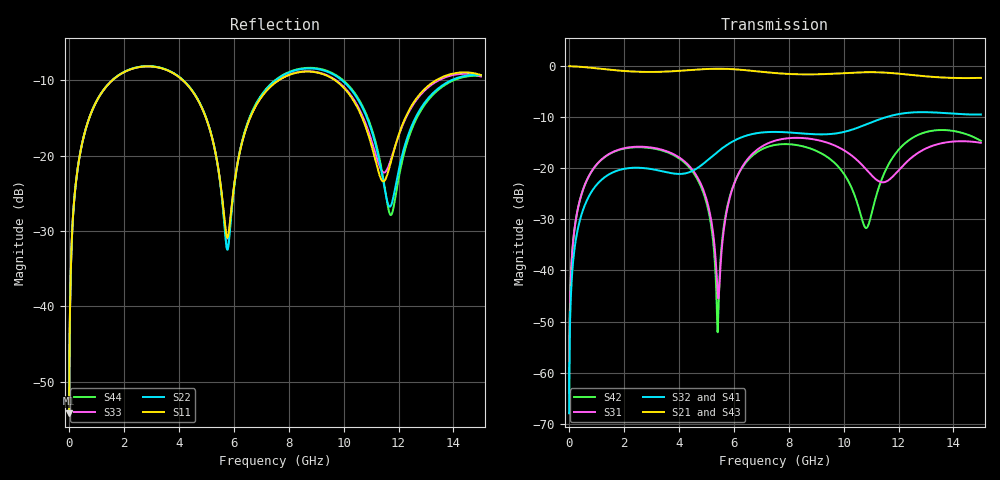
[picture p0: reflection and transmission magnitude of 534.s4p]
! Created with skrf 1.8.0 (http://scikit-rf.org).
# GHz S RI R 50.0
!freq ReS11 ImS11 ReS12 ImS12 ReS13 ImS13
! ReS14 ImS14
! ReS21 ImS21 ReS22 ImS22 ReS23 ImS23
! ReS24 ImS24
! ReS31 ImS31 ReS32 ImS32 ReS33 ImS33
! ReS34 ImS34
! ReS41 ImS41 ReS42 ImS42 ReS43 ImS43
! ReS44 ImS44
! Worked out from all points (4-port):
!   2499 points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, 5 MHz to 15 GHz, reference 50 ohm
!   strongest paths, dB at 5 MHz, 3.476 GHz, 7.19 GHz, 11.1 GHz, 15 GHz:
!     S21: 0.0, -1.1, -1.2, -1.2, -2.3
!     S43: 0.0, -1.1, -1.2, -1.2, -2.3
!     S32: -68.0, -20.7, -12.9, -10.8, -9.5
!     S41: -68.0, -20.7, -13.0, -10.8, -9.5
!     S31: -64.0, -16.5, -15.3, -21.8, -15.0
!     S42: -64.0, -16.7, -15.9, -27.2, -14.6
!   lowest |S11| = -54.2 dB at 5 MHz (marker M1), VSWR 1.00, Z = 50.2 + j0.118 ohm
!   |S11| at or under -10 dB: start of sweep to 1.581 GHz; 4.146 GHz to 7.639 GHz (3.494 GHz wide, 59.3 % of centre); 9.686 GHz to 13.37 GHz (3.687 GHz wide, 32 % of centre)
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0.005  0.00155 0.00118  0.9984 -0.00303  7.83e-05 0.000629  -7.59e-05 -0.000392
       0.9984 -0.00303  0.00155 0.00118  -7.59e-05 -0.000392  7.82e-05 0.000629
       7.83e-05 0.000629  -7.59e-05 -0.000392  0.00155 0.00118  0.9984 -0.00303
       -7.59e-05 -0.000392  7.82e-05 0.000629  0.9984 -0.00303  0.00155 0.00118
0.3126303  0.0219 0.0779  0.97 -0.1886  0.0103 0.0376  -0.00845 -0.0232
           0.97 -0.1886  0.022 0.0779  -0.00846 -0.0232  0.0101 0.0376
           0.0103 0.0376  -0.00846 -0.0232  0.0219 0.0779  0.97 -0.1886
           -0.00845 -0.0232  0.0101 0.0376  0.97 -0.1886  0.022 0.0779
1.519383  0.2466 0.1855  0.5971 -0.6998  0.1235 0.0676  -0.0878 -0.014
          0.5971 -0.6998  0.2476 0.1849  -0.0879 -0.0139  0.1206 0.071
          0.1235 0.0676  -0.0879 -0.0139  0.2466 0.1856  0.5971 -0.6998
          -0.0878 -0.014  0.1206 0.071  0.5971 -0.6998  0.2476 0.1849
5.414756  0.0427 -0.0761  -0.906 -0.2597  -0.00539 -0.00275  -0.0364 0.1404
          -0.906 -0.2597  0.038 -0.0781  -0.0345 0.1409  -0.00248 2.02e-05
          -0.00539 -0.00275  -0.0345 0.1409  0.0424 -0.0755  -0.906 -0.2596
          -0.0364 0.1404  -0.00248 2.02e-05  -0.906 -0.2596  0.038 -0.0775
6.321384  0.0695 0.1049  -0.8902 0.2228  0.063 0.0833  0.0652 0.1917
          -0.8902 0.2228  0.0663 0.1081  0.0677 0.1911  0.0515 0.0889
          0.063 0.0833  0.0677 0.1911  0.069 0.1059  -0.89 0.223
          0.0652 0.1917  0.0515 0.0889  -0.89 0.223  0.0674 0.1092
9.041267  0.3529 -0.0419  0.0344 0.8305  0.1344 -0.1329  0.2011 -0.0694
          0.0344 0.8305  0.3707 -0.0565  0.2015 -0.0749  0.1375 -0.0507
          0.1344 -0.1329  0.2015 -0.0749  0.3553 -0.0375  0.0339 0.8293
          0.2011 -0.0694  0.1375 -0.0507  0.0339 0.8293  0.3742 -0.0606
15  0.3337 -0.0752  -0.00982 -0.7669  0.1043 -0.1437  -0.3287 0.0598
    -0.00982 -0.7669  0.3387 -0.0363  -0.3278 0.0737  0.1342 -0.1279
    0.1043 -0.1437  -0.3278 0.0737  0.3259 -0.0746  -0.00953 -0.7694
    -0.3287 0.0598  0.1342 -0.1279  -0.00953 -0.7694  0.3342 -0.0363
